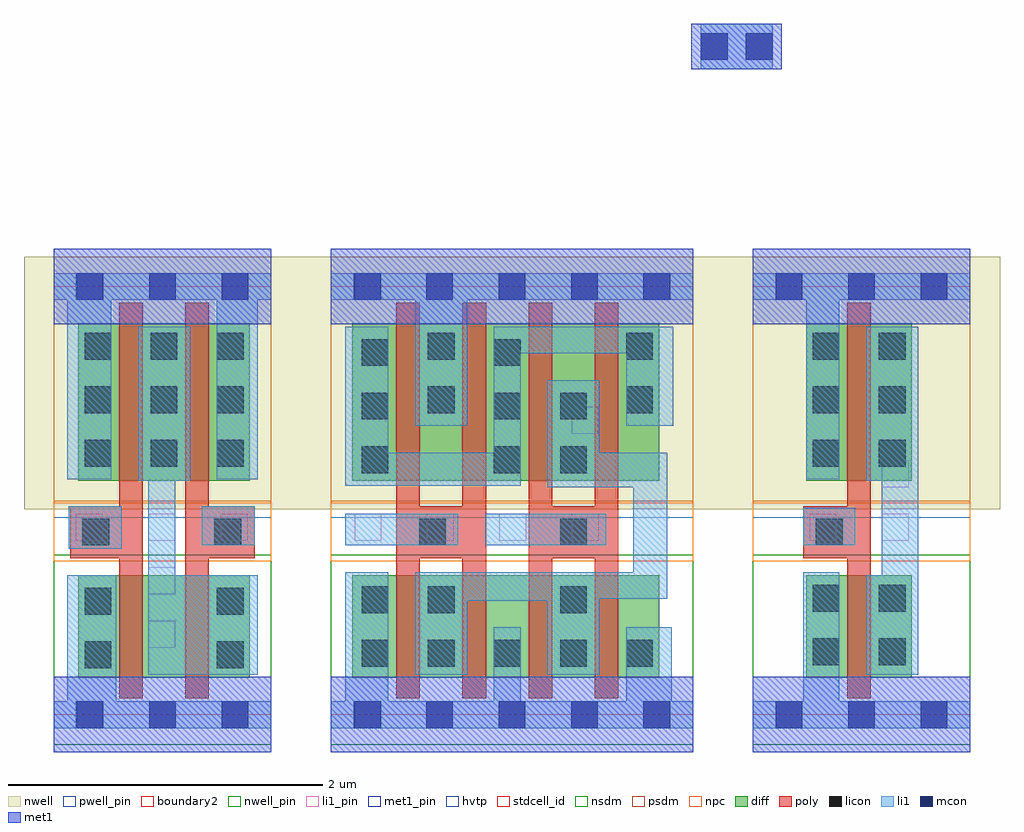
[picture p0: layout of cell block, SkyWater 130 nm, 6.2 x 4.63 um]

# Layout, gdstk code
import gdstk
lib = gdstk.Library(unit=1e-6, precision=1e-09)
def R(c, l, rs):  # rectangles x0, y0, x1, y1
    for r in rs: c.add(gdstk.rectangle(r[:2], r[2:], *l))
def A(c, l, x, y, w, h, nx, ny, dx, dy):  # array of equal rectangles
    R(c, l, [(x+i*dx, y+j*dy, x+i*dx+w, y+j*dy+h) for i in range(nx) for j in range(ny)])
def P(c, l, *ps):  # polygons
    for p in ps: c.add(gdstk.Polygon(p, *l))
nwell_pin = (64, 16)
nwell = (64, 20)
diff = (65, 20)
poly = (66, 20)
licon = (66, 44)
li1_pin = (67, 16)
li1 = (67, 20)
mcon = (67, 44)
met1_pin = (68, 16)
met1 = (68, 20)
hvtp = (78, 44)
stdcell_id = (81, 4)
nsdm = (93, 44)
psdm = (94, 20)
npc = (95, 20)
pwell_pin = (122, 16)
boundary2 = (236, 0)

sky130_fd_sc_hd__nand2_1 = lib.new_cell('sky130_fd_sc_hd__nand2_1')
R(sky130_fd_sc_hd__nand2_1, nwell_pin, [(0.14,2.635,0.31,2.805)])
R(sky130_fd_sc_hd__nand2_1, nwell, [(-0.19,1.305,1.57,2.91)])
R(sky130_fd_sc_hd__nand2_1, diff, [(0.155,0.235,1.245,0.885), (0.155,1.485,1.245,2.485)])
P(sky130_fd_sc_hd__nand2_1, poly, [(0.835,0.105),(0.835,2.615),(0.985,2.615),(0.985,1.325),(1.275,1.325),(1.275,0.995),(0.985,0.995),(0.985,0.105)],
  [(0.415,0.105),(0.415,0.995),(0.105,0.995),(0.105,1.325),(0.415,1.325),(0.415,2.615),(0.565,2.615),(0.565,0.105)])
A(sky130_fd_sc_hd__nand2_1, licon, 0.195, 1.575, 0.17, 0.17, 3, 3, 0.42, 0.34)
R(sky130_fd_sc_hd__nand2_1, licon, [(0.195,0.295,0.365,0.465), (1.035,0.295,1.205,0.465), (0.195,0.635,0.365,0.805), (1.035,0.635,1.205,0.805), (0.18,1.075,0.35,1.245), (1.02,1.075,1.19,1.245)])
A(sky130_fd_sc_hd__nand2_1, li1_pin, 0.14, 1.105, 0.17, 0.17, 3, 1, 0.46, 0)
R(sky130_fd_sc_hd__nand2_1, li1_pin, [(0.6,0.425,0.77,0.595), (0.6,0.765,0.77,0.935)])
R(sky130_fd_sc_hd__nand2_1, li1, [(0.095,1.055,0.43,1.325), (0.94,1.075,1.275,1.325)])
P(sky130_fd_sc_hd__nand2_1, li1, [(0,-0.085),(0,0.085),(0.085,0.085),(0.085,0.885),(0.395,0.885),(0.395,0.085),(1.38,0.085),(1.38,-0.085)],
  [(0.085,1.495),(0.085,2.635),(0,2.635),(0,2.805),(1.38,2.805),(1.38,2.635),(1.295,2.635),(1.295,1.495),(1.035,1.495),(1.035,2.635),(0.365,2.635),(0.365,1.495)],
  [(0.6,0.255),(0.6,1.485),(0.535,1.485),(0.535,2.465),(0.865,2.465),(0.865,1.485),(0.77,1.485),(0.77,0.885),(1.295,0.885),(1.295,0.255)])
A(sky130_fd_sc_hd__nand2_1, mcon, 0.145, -0.085, 0.17, 0.17, 3, 2, 0.46, 2.72)
R(sky130_fd_sc_hd__nand2_1, met1_pin, [(0.14,-0.085,0.31,0.085), (0.14,2.635,0.31,2.805)])
R(sky130_fd_sc_hd__nand2_1, hvtp, [(0,1.25,1.38,2.72)])
R(sky130_fd_sc_hd__nand2_1, stdcell_id, [(0,0,1.38,2.72)])
R(sky130_fd_sc_hd__nand2_1, nsdm, [(0,-0.19,1.38,1.015)])
R(sky130_fd_sc_hd__nand2_1, psdm, [(0,1.355,1.38,2.91)])
R(sky130_fd_sc_hd__nand2_1, npc, [(0,0.975,1.38,1.345)])
R(sky130_fd_sc_hd__nand2_1, pwell_pin, [(0.14,-0.085,0.31,0.085)])
R(sky130_fd_sc_hd__nand2_1, boundary2, [(0,0,1.38,2.72)])
sky130_fd_sc_hd__nand2_1.add(gdstk.FlexPath([(0,2.72),(1.38,2.72)], 0.48, ends="flush", simple_path=True, layer=68, datatype=20))  # met1
sky130_fd_sc_hd__nand2_1.add(gdstk.FlexPath([(0,0),(1.38,0)], 0.48, ends="flush", simple_path=True, layer=68, datatype=20))  # met1
sky130_fd_sc_hd__nand2_1.add(gdstk.Label('Y', (0.685,0.51), layer=67, texttype=5))
sky130_fd_sc_hd__nand2_1.add(gdstk.Label('Y', (0.685,0.85), layer=67, texttype=5))
sky130_fd_sc_hd__nand2_1.add(gdstk.Label('Y', (0.685,1.19), layer=67, texttype=5))
sky130_fd_sc_hd__nand2_1.add(gdstk.Label('B', (0.225,1.19), layer=67, texttype=5))
sky130_fd_sc_hd__nand2_1.add(gdstk.Label('A', (1.145,1.19), layer=67, texttype=5))
sky130_fd_sc_hd__nand2_1.add(gdstk.Label('VPB', (0.225,2.72), layer=64, texttype=5))
sky130_fd_sc_hd__nand2_1.add(gdstk.Label('VNB', (0.225,0), layer=64, texttype=59))
sky130_fd_sc_hd__nand2_1.add(gdstk.Label('VGND', (0.23,0), layer=68, texttype=5))
sky130_fd_sc_hd__nand2_1.add(gdstk.Label('VPWR', (0.225,2.72), layer=68, texttype=5))
sky130_fd_sc_hd__nand2_1.add(gdstk.Label('nand2_1', (0,0), layer=83, texttype=44))

sky130_fd_sc_hd__nor2_2 = lib.new_cell('sky130_fd_sc_hd__nor2_2')
R(sky130_fd_sc_hd__nor2_2, nwell_pin, [(0.15,2.635,0.32,2.805)])
R(sky130_fd_sc_hd__nor2_2, nwell, [(-0.19,1.305,2.49,2.91)])
R(sky130_fd_sc_hd__nor2_2, diff, [(0.135,0.235,2.085,0.885), (0.135,1.485,2.085,2.485)])
P(sky130_fd_sc_hd__nor2_2, poly, [(0.415,0.105),(0.415,2.615),(0.565,2.615),(0.565,1.325),(0.835,1.325),(0.835,2.615),(0.985,2.615),(0.985,0.105),(0.835,0.105),(0.835,0.995),(0.565,0.995),(0.565,0.105)],
  [(1.255,0.105),(1.255,2.615),(1.405,2.615),(1.405,1.325),(1.675,1.325),(1.675,2.615),(1.825,2.615),(1.825,0.105),(1.675,0.105),(1.675,0.995),(1.405,0.995),(1.405,0.105)])
A(sky130_fd_sc_hd__nor2_2, licon, 0.195, 0.305, 0.17, 0.17, 5, 1, 0.42, 0)
A(sky130_fd_sc_hd__nor2_2, licon, 0.195, 1.535, 0.17, 0.17, 1, 3, 0, 0.34)
A(sky130_fd_sc_hd__nor2_2, licon, 1.035, 1.535, 0.17, 0.17, 1, 3, 0, 0.34)
R(sky130_fd_sc_hd__nor2_2, licon, [(0.195,0.645,0.365,0.815), (0.615,0.645,0.785,0.815), (1.455,0.645,1.625,0.815), (0.56,1.075,0.73,1.245), (1.455,1.075,1.625,1.245), (1.455,1.535,1.625,1.705), (1.455,1.875,1.625,2.045), (0.615,1.915,0.785,2.085), (1.875,1.915,2.045,2.085), (0.615,2.255,0.785,2.425), (1.875,2.255,2.045,2.425)])
A(sky130_fd_sc_hd__nor2_2, li1_pin, 0.15, 1.105, 0.17, 0.17, 4, 1, 0.46, 0)
R(sky130_fd_sc_hd__nor2_2, li1_pin, [(1.53,1.785,1.7,1.955)])
R(sky130_fd_sc_hd__nor2_2, li1, [(0.09,1.075,0.81,1.275), (0.98,1.075,1.75,1.275)])
P(sky130_fd_sc_hd__nor2_2, li1, [(0,-0.085),(0,0.085),(0.09,0.085),(0.09,0.905),(0.365,0.905),(0.365,0.085),(1.035,0.085),(1.035,0.555),(1.205,0.555),(1.205,0.085),(1.875,0.085),(1.875,0.555),(2.165,0.555),(2.165,0.085),(2.3,0.085),(2.3,-0.085)],
  [(0.535,1.835),(0.535,2.635),(0,2.635),(0,2.805),(2.3,2.805),(2.3,2.635),(0.865,2.635),(0.865,1.835)],
  [(0.535,0.255),(0.535,0.905),(1.92,0.905),(1.92,1.445),(1.375,1.445),(1.375,2.125),(1.705,2.125),(1.705,1.665),(2.135,1.665),(2.135,0.735),(1.705,0.735),(1.705,0.255),(1.375,0.255),(1.375,0.725),(0.865,0.725),(0.865,0.255)],
  [(0.09,1.455),(0.09,2.465),(0.365,2.465),(0.365,1.665),(1.035,1.665),(1.035,2.465),(2.175,2.465),(2.175,1.835),(1.875,1.835),(1.875,2.295),(1.205,2.295),(1.205,1.455)])
A(sky130_fd_sc_hd__nor2_2, mcon, 0.145, -0.085, 0.17, 0.17, 5, 2, 0.46, 2.72)
R(sky130_fd_sc_hd__nor2_2, met1_pin, [(0.15,-0.085,0.32,0.085), (0.15,2.635,0.32,2.805)])
R(sky130_fd_sc_hd__nor2_2, hvtp, [(0,1.25,2.3,2.72)])
R(sky130_fd_sc_hd__nor2_2, stdcell_id, [(0,0,2.3,2.72)])
R(sky130_fd_sc_hd__nor2_2, nsdm, [(0,-0.19,2.3,1.015)])
R(sky130_fd_sc_hd__nor2_2, psdm, [(0,1.355,2.3,2.91)])
R(sky130_fd_sc_hd__nor2_2, npc, [(0,0.975,2.3,1.345)])
R(sky130_fd_sc_hd__nor2_2, pwell_pin, [(0.15,-0.085,0.32,0.085)])
R(sky130_fd_sc_hd__nor2_2, boundary2, [(0,0,2.3,2.72)])
sky130_fd_sc_hd__nor2_2.add(gdstk.FlexPath([(0,2.72),(2.3,2.72)], 0.48, ends="flush", simple_path=True, layer=68, datatype=20))  # met1
sky130_fd_sc_hd__nor2_2.add(gdstk.FlexPath([(0,0),(2.3,0)], 0.48, ends="flush", simple_path=True, layer=68, datatype=20))  # met1
sky130_fd_sc_hd__nor2_2.add(gdstk.Label('B', (1.155,1.19), layer=67, texttype=5))
sky130_fd_sc_hd__nor2_2.add(gdstk.Label('Y', (1.615,1.87), layer=67, texttype=5))
sky130_fd_sc_hd__nor2_2.add(gdstk.Label('A', (0.235,1.19), layer=67, texttype=5))
sky130_fd_sc_hd__nor2_2.add(gdstk.Label('VPB', (0.235,2.72), layer=64, texttype=5))
sky130_fd_sc_hd__nor2_2.add(gdstk.Label('VNB', (0.235,0), layer=64, texttype=59))
sky130_fd_sc_hd__nor2_2.add(gdstk.Label('VGND', (0.235,0), layer=68, texttype=5))
sky130_fd_sc_hd__nor2_2.add(gdstk.Label('VPWR', (0.235,2.72), layer=68, texttype=5))
sky130_fd_sc_hd__nor2_2.add(gdstk.Label('nor2_2', (0,0), layer=83, texttype=44))

sky130_fd_sc_hd__inv_1 = lib.new_cell('sky130_fd_sc_hd__inv_1')
R(sky130_fd_sc_hd__inv_1, nwell_pin, [(0.145,2.635,0.315,2.805), (0.145,2.635,0.315,2.805)])
R(sky130_fd_sc_hd__inv_1, nwell, [(-0.19,1.305,1.57,2.91)])
R(sky130_fd_sc_hd__inv_1, diff, [(0.34,0.235,1.01,0.885), (0.34,1.485,1.01,2.485)])
P(sky130_fd_sc_hd__inv_1, poly, [(0.6,0.105),(0.6,0.995),(0.32,0.995),(0.32,1.325),(0.6,1.325),(0.6,2.615),(0.75,2.615),(0.75,0.105)])
A(sky130_fd_sc_hd__inv_1, licon, 0.38, 1.575, 0.17, 0.17, 1, 3, 0, 0.34)
A(sky130_fd_sc_hd__inv_1, licon, 0.8, 1.575, 0.17, 0.17, 1, 3, 0, 0.34)
R(sky130_fd_sc_hd__inv_1, licon, [(0.38,0.315,0.55,0.485), (0.8,0.315,0.97,0.485), (0.38,0.655,0.55,0.825), (0.8,0.655,0.97,0.825), (0.4,1.075,0.57,1.245)])
R(sky130_fd_sc_hd__inv_1, li1_pin, [(0.36,1.105,0.53,1.275), (0.82,1.105,0.99,1.275), (0.82,1.445,0.99,1.615)])
R(sky130_fd_sc_hd__inv_1, li1, [(0,-0.085,1.38,0.085), (0.32,0.005,0.55,0.905), (0.32,1.075,0.65,1.315), (0.34,1.495,0.55,2.675), (0,2.635,1.38,2.805)])
P(sky130_fd_sc_hd__inv_1, li1, [(0.72,0.255),(0.72,0.885),(0.82,0.885),(0.82,1.485),(0.72,1.485),(0.72,2.465),(1.05,2.465),(1.05,0.255)])
A(sky130_fd_sc_hd__inv_1, mcon, 0.145, -0.085, 0.17, 0.17, 3, 2, 0.46, 2.72)
R(sky130_fd_sc_hd__inv_1, met1_pin, [(0.145,-0.085,0.315,0.085), (0.145,-0.085,0.315,0.085), (0.145,2.635,0.315,2.805), (0.145,2.635,0.315,2.805)])
R(sky130_fd_sc_hd__inv_1, hvtp, [(0,1.25,1.38,2.72)])
R(sky130_fd_sc_hd__inv_1, stdcell_id, [(0,0,1.38,2.72)])
R(sky130_fd_sc_hd__inv_1, nsdm, [(0,-0.19,1.38,1.015)])
R(sky130_fd_sc_hd__inv_1, psdm, [(0,1.355,1.38,2.91)])
R(sky130_fd_sc_hd__inv_1, npc, [(0,0.975,1.38,1.345)])
R(sky130_fd_sc_hd__inv_1, pwell_pin, [(0.145,-0.085,0.315,0.085), (0.145,-0.085,0.315,0.085)])
R(sky130_fd_sc_hd__inv_1, boundary2, [(0,0,1.38,2.72)])
sky130_fd_sc_hd__inv_1.add(gdstk.FlexPath([(0,2.72),(1.38,2.72)], 0.48, ends="flush", simple_path=True, layer=68, datatype=20))  # met1
sky130_fd_sc_hd__inv_1.add(gdstk.FlexPath([(0,0),(1.38,0)], 0.48, ends="flush", simple_path=True, layer=68, datatype=20))  # met1
sky130_fd_sc_hd__inv_1.add(gdstk.Label('Y', (0.905,1.53), layer=67, texttype=5))
sky130_fd_sc_hd__inv_1.add(gdstk.Label('Y', (0.905,1.19), layer=67, texttype=5))
sky130_fd_sc_hd__inv_1.add(gdstk.Label('A', (0.445,1.19), layer=67, texttype=5))
sky130_fd_sc_hd__inv_1.add(gdstk.Label('VPB', (0.23,2.72), layer=64, texttype=5))
sky130_fd_sc_hd__inv_1.add(gdstk.Label('VNB', (0.23,0), layer=64, texttype=59))
sky130_fd_sc_hd__inv_1.add(gdstk.Label('VGND', (0.23,0), layer=68, texttype=5))
sky130_fd_sc_hd__inv_1.add(gdstk.Label('VPWR', (0.23,2.72), layer=68, texttype=5))
sky130_fd_sc_hd__inv_1.add(gdstk.Label('inv_1', (0,0), layer=83, texttype=44))

block = lib.new_cell('block')
R(block, li1, [(4.11,4.1,4.565,4.39)])
R(block, mcon, [(4.11,4.16,4.28,4.33), (4.395,4.16,4.565,4.33)])
R(block, met1, [(4.05,4.1,4.625,4.39)])
block.add(gdstk.Reference(sky130_fd_sc_hd__nand2_1, (0,0)))
block.add(gdstk.Reference(sky130_fd_sc_hd__nor2_2, (1.76,0)))
block.add(gdstk.Reference(sky130_fd_sc_hd__inv_1, (4.44,0)))

lib.write_gds('block.gds')
